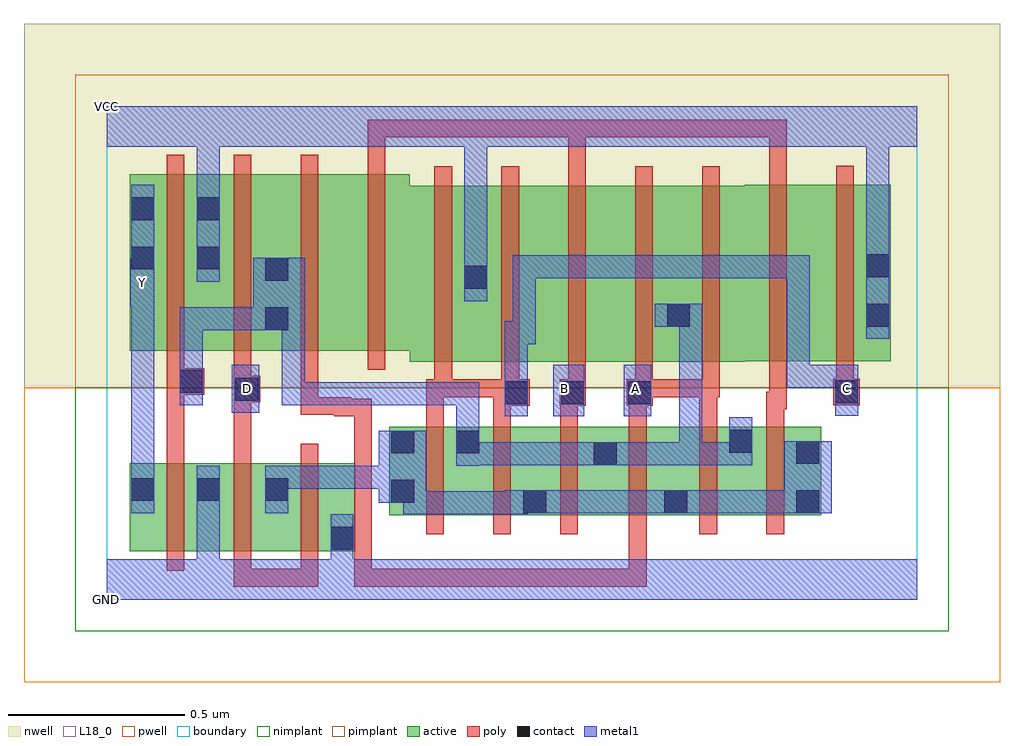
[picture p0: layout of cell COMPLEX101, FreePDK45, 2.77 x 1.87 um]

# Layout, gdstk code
import gdstk
lib = gdstk.Library(unit=1e-6, precision=1e-09)
def R(c, l, rs):  # rectangles x0, y0, x1, y1
    for r in rs: c.add(gdstk.rectangle(r[:2], r[2:], *l))
def A(c, l, x, y, w, h, nx, ny, dx, dy):  # array of equal rectangles
    R(c, l, [(x+i*dx, y+j*dy, x+i*dx+w, y+j*dy+h) for i in range(nx) for j in range(ny)])
active = (1, 0)
pwell = (2, 0)
nwell = (3, 0)
nimplant = (4, 0)
pimplant = (5, 0)
poly = (9, 0)
contact = (10, 0)
metal1 = (11, 0)
L18_0 = (18, 0)
boundary = (235, 0)

complex101 = lib.new_cell('COMPLEX101')
R(complex101, active, [(0.065,0.137,0.325,0.387), (0.25,0.137,0.52,0.387), (0.25,0.137,0.325,0.35), (0.445,0.137,0.705,0.387), (0.63,0.137,0.705,0.387), (0.065,0.2,0.14,0.387), (0.445,0.2,0.52,0.387), (0.802,0.24,0.877,0.49), (0.802,0.24,1.062,0.49), (0.987,0.24,1.252,0.49), (1.177,0.24,1.452,0.49), (1.177,0.24,1.252,0.467), (1.377,0.24,1.652,0.49), (1.577,0.24,1.837,0.49), (1.577,0.24,1.652,0.405), (1.762,0.24,2.027,0.49), (1.952,0.24,2.027,0.49), (0.987,0.297,1.062,0.485), (1.377,0.297,1.452,0.452), (1.762,0.297,1.837,0.487), (0.86,0.675,1.085,1.175), (1.01,0.675,1.24,1.175), (1.01,0.675,1.085,1.157), (1.24,0.675,1.43,1.175), (1.43,0.675,1.66,1.175), (1.585,0.675,1.81,1.175), (1.585,0.675,1.66,1.07), (1.81,0.677,2,1.177), (2,0.677,2.225,1.177), (2.15,0.677,2.225,1.172), (0.065,0.707,0.325,1.207), (0.065,0.707,0.14,1.157), (0.25,0.707,0.52,1.207), (0.445,0.707,0.67,1.207), (0.67,0.707,0.86,1.207), (0.445,0.76,0.52,1.2), (0.25,0.807,0.325,1.157)])
R(complex101, pwell, [(-0.235,-0.235,2.535,0.602)])
R(complex101, nwell, [(-0.235,0.602,2.535,1.635)])
R(complex101, nimplant, [(-0.09,-0.09,2.39,0.602)])
R(complex101, pimplant, [(-0.09,0.602,2.39,1.49)])
A(complex101, poly, 0.17, 0.082, 0.05, 0.36, 3, 1, 0.19, 0)
A(complex101, poly, 0.907, 0.185, 0.05, 0.36, 3, 1, 0.19, 0)
A(complex101, poly, 0.93, 0.575, 0.05, 0.095, 5, 1, 0.19, 0)
A(complex101, poly, 0.93, 0.62, 0.05, 0.61, 5, 1, 0.19, 0)
A(complex101, poly, 0.17, 0.652, 0.05, 0.61, 4, 1, 0.19, 0)
R(complex101, poly, [(0.36,0.037,0.41,0.132), (0.36,0.037,0.41,0.087), (0.36,0.037,0.41,0.087), (0.36,0.037,0.41,0.087), (0.36,0.037,0.6,0.087), (0.55,0.037,0.6,0.132), (0.55,0.037,0.6,0.087), (0.702,0.037,0.752,0.087), (0.702,0.037,0.922,0.087), (0.702,0.037,0.752,0.57), (0.872,0.037,0.922,0.087), (0.872,0.037,0.922,0.087), (0.872,0.037,0.922,0.087), (0.872,0.037,1.202,0.087), (1.152,0.037,1.202,0.087), (1.152,0.037,1.202,0.087), (1.152,0.037,1.202,0.087), (1.152,0.037,1.392,0.087), (1.342,0.037,1.392,0.087), (1.342,0.037,1.392,0.087), (1.342,0.037,1.392,0.087), (1.342,0.037,1.532,0.087), (1.482,0.037,1.532,0.087), (1.482,0.037,1.532,0.087), (1.482,0.037,1.532,0.087), (1.482,0.037,1.532,0.235), (1.482,0.185,1.532,0.545), (1.682,0.185,1.732,0.545), (1.872,0.185,1.922,0.545), (0.17,0.392,0.22,0.632), (0.36,0.392,0.41,0.61), (0.907,0.495,0.957,0.625), (1.097,0.495,1.147,0.6), (1.287,0.495,1.337,0.6), (1.482,0.495,1.532,0.6), (1.682,0.495,1.732,0.625), (1.872,0.495,1.922,0.59), (0.645,0.52,0.752,0.57), (0.645,0.52,0.695,0.575), (0.702,0.52,0.752,0.57), (0.702,0.52,0.752,0.57), (0.702,0.52,0.752,0.57), (0.702,0.52,0.752,0.57), (0.702,0.52,0.752,0.57), (0.55,0.525,0.6,0.575), (0.55,0.525,0.695,0.575), (0.55,0.525,0.6,0.702), (1.872,0.54,1.93,0.59), (1.88,0.54,1.93,0.672), (1.097,0.55,1.2,0.625), (1.285,0.55,1.36,0.625), (1.475,0.55,1.55,0.625), (2.062,0.552,2.137,0.627), (0.36,0.56,0.435,0.635), (0.907,0.575,0.98,0.625), (0.93,0.575,1.147,0.625), (1.097,0.575,1.147,0.625), (1.097,0.575,1.147,0.625), (1.5,0.575,1.732,0.625), (1.682,0.575,1.732,0.625), (1.682,0.575,1.732,0.625), (1.682,0.575,1.74,0.625), (2.07,0.577,2.12,0.672), (0.17,0.582,0.277,0.657), (0.36,0.585,0.41,0.702), (0.17,0.607,0.22,0.702), (1.88,0.622,1.93,1.232), (2.07,0.622,2.12,1.232), (1.31,1.18,1.36,1.362), (1.88,1.182,1.93,1.362), (0.74,1.212,0.79,1.362), (0.74,1.312,0.79,1.362), (0.74,1.312,0.922,1.362), (0.872,1.312,0.922,1.362), (0.872,1.312,0.922,1.362), (0.872,1.312,0.922,1.362), (0.872,1.312,1.19,1.362), (1.14,1.312,1.19,1.362), (1.14,1.312,1.19,1.362), (1.14,1.312,1.19,1.362), (1.14,1.312,1.36,1.362), (1.31,1.312,1.36,1.362), (1.31,1.312,1.36,1.362), (1.31,1.312,1.36,1.362), (1.31,1.312,1.525,1.362), (1.475,1.312,1.525,1.362), (1.475,1.312,1.525,1.362), (1.475,1.312,1.525,1.362), (1.475,1.312,1.79,1.362), (1.74,1.312,1.79,1.362), (1.74,1.312,1.79,1.362), (1.74,1.312,1.79,1.362), (1.74,1.312,1.93,1.362), (1.88,1.312,1.93,1.362), (1.88,1.312,1.93,1.362), (1.88,1.312,1.93,1.362)])
R(complex101, contact, [(0.635,0.142,0.7,0.207), (1.182,0.245,1.247,0.31), (1.582,0.245,1.647,0.31), (1.957,0.245,2.022,0.31), (0.807,0.275,0.872,0.34), (0.07,0.28,0.135,0.345), (0.255,0.28,0.32,0.345), (0.45,0.28,0.515,0.345), (1.382,0.382,1.447,0.447), (1.957,0.385,2.022,0.45), (0.807,0.415,0.872,0.48), (0.992,0.415,1.057,0.48), (1.767,0.417,1.832,0.482), (1.13,0.555,1.195,0.62), (1.29,0.555,1.355,0.62), (1.48,0.555,1.545,0.62), (2.067,0.557,2.132,0.622), (0.365,0.565,0.43,0.63), (0.207,0.587,0.272,0.652), (0.45,0.765,0.515,0.83), (1.59,0.775,1.655,0.84), (2.155,0.775,2.22,0.84), (1.015,0.882,1.08,0.947), (0.45,0.905,0.515,0.97), (2.155,0.915,2.22,0.98), (0.07,0.937,0.135,1.002), (0.255,0.937,0.32,1.002), (0.07,1.077,0.135,1.142), (0.255,1.077,0.32,1.142)])
R(complex101, metal1, [(0,0,2.3,0.115), (0.255,0.05,0.32,0.115), (0.255,0.05,0.32,0.115), (0.255,0.05,0.32,0.115), (0.255,0.05,0.32,0.115), (0.255,0.05,0.32,0.31), (0.635,0.05,0.7,0.172), (0.635,0.107,0.7,0.172), (0.635,0.107,0.7,0.172), (0.635,0.107,0.7,0.172), (0.635,0.107,0.7,0.172), (0.635,0.107,0.7,0.242), (0.842,0.242,0.907,0.307), (0.842,0.242,1.057,0.307), (0.842,0.242,0.907,0.34), (0.992,0.242,1.057,0.307), (0.992,0.242,1.057,0.307), (0.992,0.242,1.057,0.307), (0.992,0.242,1.195,0.307), (1.13,0.242,1.195,0.31), (0.07,0.245,0.135,0.38), (0.255,0.245,0.32,0.38), (0.45,0.245,0.515,0.38), (1.13,0.245,1.212,0.31), (1.147,0.245,1.282,0.31), (1.217,0.245,1.337,0.31), (1.272,0.245,1.337,0.31), (1.272,0.245,1.475,0.31), (1.41,0.245,1.475,0.31), (1.41,0.245,1.475,0.31), (1.41,0.245,1.475,0.31), (1.41,0.245,1.612,0.31), (1.547,0.245,1.682,0.31), (1.617,0.245,1.682,0.31), (1.617,0.245,1.682,0.31), (1.617,0.245,1.85,0.31), (1.785,0.245,1.85,0.31), (1.785,0.245,1.85,0.31), (1.785,0.245,1.85,0.31), (1.785,0.245,1.987,0.31), (1.922,0.245,2.057,0.45), (0.772,0.275,0.907,0.48), (0.07,0.315,0.135,0.897), (0.45,0.315,0.7,0.38), (0.635,0.315,0.7,0.38), (0.635,0.315,0.7,0.38), (0.635,0.315,0.7,0.38), (0.635,0.315,0.837,0.38), (0.772,0.315,0.837,0.38), (0.772,0.315,0.837,0.38), (0.992,0.38,1.057,0.515), (0.992,0.382,1.195,0.447), (1.13,0.382,1.195,0.447), (1.13,0.382,1.195,0.447), (1.13,0.382,1.195,0.447), (1.13,0.382,1.337,0.447), (1.272,0.382,1.337,0.447), (1.272,0.382,1.412,0.447), (1.347,0.382,1.482,0.447), (1.417,0.382,1.482,0.447), (1.417,0.382,1.482,0.447), (1.417,0.382,1.69,0.447), (1.625,0.382,1.69,0.447), (1.625,0.382,1.69,0.447), (1.625,0.382,1.69,0.447), (1.625,0.382,1.69,0.447), (1.625,0.382,1.69,0.447), (1.625,0.382,1.832,0.447), (1.625,0.382,1.69,0.84), (1.767,0.382,1.832,0.517), (0.992,0.45,1.057,0.617), (1.13,0.52,1.195,0.655), (1.267,0.52,1.355,0.667), (1.467,0.52,1.545,0.667), (2.067,0.522,2.132,0.667), (0.355,0.53,0.432,0.667), (0.207,0.552,0.272,0.687), (0.497,0.552,0.562,0.617), (0.497,0.552,0.7,0.617), (0.497,0.552,0.562,0.83), (0.635,0.552,0.7,0.617), (0.635,0.552,0.7,0.617), (0.635,0.552,0.7,0.617), (0.635,0.552,0.92,0.617), (0.855,0.552,0.92,0.617), (0.855,0.552,0.92,0.617), (0.855,0.552,0.92,0.617), (0.855,0.552,1.057,0.617), (0.992,0.552,1.057,0.617), (0.992,0.552,1.057,0.617), (0.992,0.552,1.057,0.617), (1.13,0.59,1.195,0.655), (1.13,0.59,1.195,0.655), (1.13,0.59,1.195,0.79), (1.93,0.602,1.995,0.667), (1.93,0.602,2.132,0.667), (1.93,0.602,1.995,0.977), (0.207,0.622,0.272,0.687), (0.207,0.622,0.272,0.687), (0.207,0.622,0.272,0.83), (1.13,0.725,1.217,0.79), (1.152,0.725,1.217,0.977), (2.155,0.74,2.22,1.015), (0.207,0.765,0.272,0.83), (0.207,0.765,0.48,0.83), (0.415,0.765,0.48,0.83), (0.415,0.765,0.48,0.83), (0.415,0.765,0.562,0.97), (1.555,0.775,1.69,0.84), (0.067,0.832,0.135,0.967), (1.015,0.847,1.08,0.982), (0.07,0.902,0.135,0.967), (0.07,0.902,0.135,1.177), (0.255,0.902,0.32,1.177), (1.152,0.912,1.217,0.977), (1.152,0.912,1.337,0.977), (1.272,0.912,1.337,0.977), (1.272,0.912,1.475,0.977), (1.41,0.912,1.475,0.977), (1.41,0.912,1.475,0.977), (1.41,0.912,1.475,0.977), (1.41,0.912,1.695,0.977), (1.63,0.912,1.695,0.977), (1.63,0.912,1.695,0.977), (1.63,0.912,1.695,0.977), (1.63,0.912,1.832,0.977), (1.767,0.912,1.832,0.977), (1.767,0.912,1.832,0.977), (1.767,0.912,1.832,0.977), (1.767,0.912,1.995,0.977), (1.93,0.912,1.995,0.977), (1.93,0.912,1.995,0.977), (1.93,0.912,1.995,0.977), (1.015,0.917,1.08,1.35), (2.155,0.95,2.22,1.015), (2.155,0.95,2.22,1.015), (2.155,0.95,2.22,1.35), (0.255,1.112,0.32,1.35), (0,1.285,2.3,1.4), (0.255,1.285,0.32,1.35), (0.255,1.285,0.32,1.35), (1.015,1.285,1.08,1.35), (1.015,1.285,1.08,1.35)])
R(complex101, L18_0, [(0,0,2.3,0.115), (0.255,0.05,0.32,0.115), (0.255,0.05,0.32,0.115), (0.255,0.05,0.32,0.115), (0.255,0.05,0.32,0.115), (0.255,0.05,0.32,0.31), (0.635,0.05,0.7,0.172), (0.635,0.107,0.7,0.242), (0.635,0.107,0.7,0.172), (0.635,0.107,0.7,0.172), (0.635,0.107,0.7,0.172), (0.635,0.107,0.7,0.172), (0.07,0.245,0.135,0.38), (0.255,0.245,0.32,0.38), (0.07,0.315,0.135,0.897), (1.13,0.52,1.195,0.655), (1.267,0.52,1.355,0.667), (1.467,0.52,1.545,0.667), (2.067,0.522,2.132,0.667), (0.355,0.53,0.432,0.667), (0.367,0.567,0.432,0.632), (1.267,0.567,1.332,0.632), (1.467,0.567,1.532,0.632), (2.067,0.567,2.132,0.632), (1.13,0.59,1.195,0.655), (1.13,0.59,1.195,0.655), (1.13,0.59,1.195,0.79), (1.93,0.602,1.995,0.667), (1.93,0.602,2.132,0.667), (1.93,0.602,1.995,0.977), (1.13,0.725,1.217,0.79), (1.152,0.725,1.217,0.977), (2.155,0.74,2.22,1.015), (0.067,0.832,0.135,0.967), (1.015,0.847,1.08,0.982), (0.067,0.867,0.132,0.932), (0.07,0.902,0.135,1.177), (0.07,0.902,0.135,0.967), (0.255,0.902,0.32,1.177), (1.152,0.912,1.217,0.977), (1.152,0.912,1.337,0.977), (1.272,0.912,1.337,0.977), (1.272,0.912,1.475,0.977), (1.41,0.912,1.475,0.977), (1.41,0.912,1.475,0.977), (1.41,0.912,1.475,0.977), (1.41,0.912,1.695,0.977), (1.63,0.912,1.695,0.977), (1.63,0.912,1.695,0.977), (1.63,0.912,1.695,0.977), (1.63,0.912,1.832,0.977), (1.767,0.912,1.832,0.977), (1.767,0.912,1.832,0.977), (1.767,0.912,1.832,0.977), (1.767,0.912,1.995,0.977), (1.93,0.912,1.995,0.977), (1.93,0.912,1.995,0.977), (1.93,0.912,1.995,0.977), (1.015,0.917,1.08,1.35), (2.155,0.95,2.22,1.015), (2.155,0.95,2.22,1.015), (2.155,0.95,2.22,1.35), (0.255,1.112,0.32,1.35), (0,1.285,2.3,1.4), (0.255,1.285,0.32,1.35), (0.255,1.285,0.32,1.35), (1.015,1.285,1.08,1.35), (1.015,1.285,1.08,1.35)])
R(complex101, boundary, [(0,0,2.3,1.4)])
complex101.add(gdstk.Label('A', (1.5,0.6), layer=11, texttype=0))
complex101.add(gdstk.Label('B', (1.3,0.6), layer=11, texttype=0))
complex101.add(gdstk.Label('C', (2.1,0.6), layer=11, texttype=0))
complex101.add(gdstk.Label('D', (0.4,0.6), layer=11, texttype=0))
complex101.add(gdstk.Label('Y', (0.1,0.9), layer=11, texttype=0))
complex101.add(gdstk.Label('VCC', (0,1.4), layer=11, texttype=0))
complex101.add(gdstk.Label('GND', (0,0), layer=11, texttype=0))

lib.write_gds('COMPLEX101.gds')
